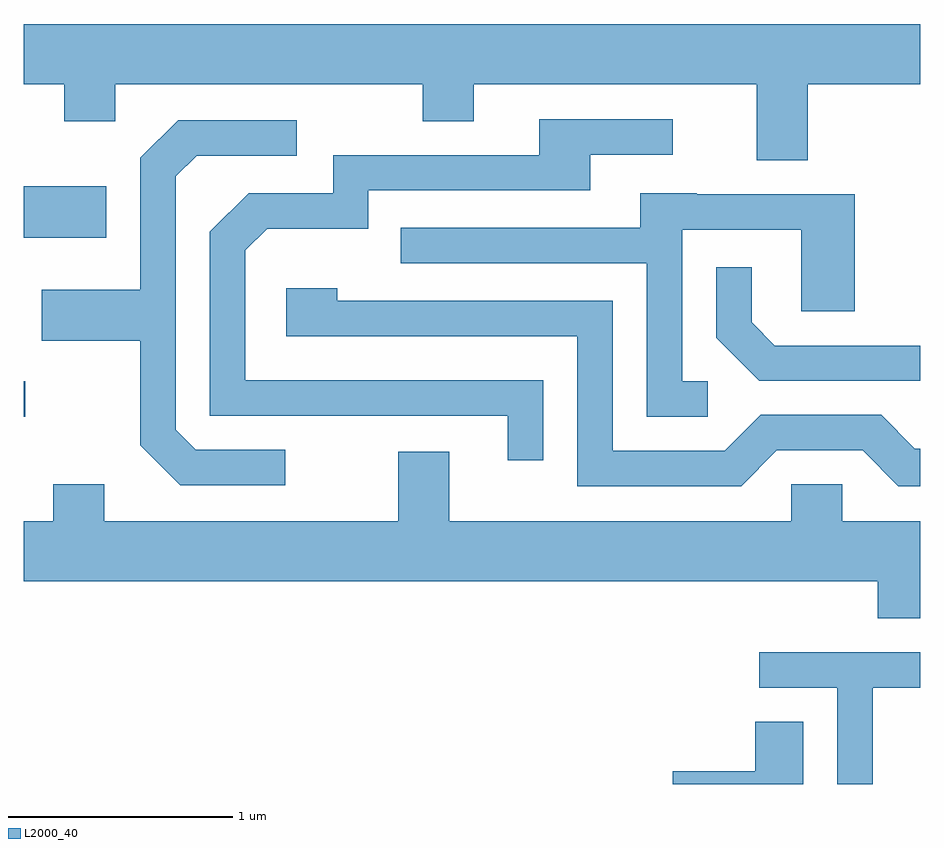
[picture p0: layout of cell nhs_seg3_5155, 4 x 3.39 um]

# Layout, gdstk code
import gdstk
lib = gdstk.Library(unit=1e-6, precision=1e-09)
def R(c, l, rs):  # rectangles x0, y0, x1, y1
    for r in rs: c.add(gdstk.rectangle(r[:2], r[2:], *l))
def P(c, l, *ps):  # polygons
    for p in ps: c.add(gdstk.Polygon(p, *l))
L2000_40 = (2000, 40)

nhs_seg3_5155 = lib.new_cell('nhs_seg3_5155')
R(nhs_seg3_5155, L2000_40, [(335.611,1235.531,335.618,1235.689), (335.611,1236.331,335.979,1236.559)])
P(nhs_seg3_5155, L2000_40, [(339.109,1237.016),(339.611,1237.016),(339.611,1237.284),(335.611,1237.284),(335.611,1237.016),(335.791,1237.016),(335.791,1236.851),(336.019,1236.851),(336.019,1237.016),(337.391,1237.016),(337.391,1236.851),(337.619,1236.851),(337.619,1237.016),(338.881,1237.016),(338.881,1236.676),(339.109,1236.676)],
  [(337.929,1235.694),(336.599,1235.694),(336.599,1236.274),(336.697,1236.371),(337.149,1236.371),(337.149,1236.541),(338.139,1236.541),(338.139,1236.701),(338.508,1236.701),(338.508,1236.859),(337.911,1236.859),(337.911,1236.699),(336.991,1236.699),(336.991,1236.529),(336.614,1236.529),(336.441,1236.357),(336.441,1235.536),(337.771,1235.536),(337.771,1235.338),(337.929,1235.338)],
  [(336.778,1235.384),(336.377,1235.384),(336.289,1235.472),(336.289,1236.604),(336.382,1236.696),(336.828,1236.696),(336.828,1236.854),(336.299,1236.854),(336.131,1236.687),(336.131,1236.099),(335.691,1236.099),(335.691,1235.871),(336.131,1235.871),(336.131,1235.404),(336.309,1235.226),(336.778,1235.226)],
  [(338.663,1235.689),(338.549,1235.689),(338.549,1236.366),(339.081,1236.366),(339.081,1236.001),(339.319,1236.001),(339.319,1236.524),(338.615,1236.524),(338.615,1236.529),(338.361,1236.529),(338.361,1236.374),(337.293,1236.374),(337.293,1236.216),(338.391,1236.216),(338.391,1235.531),(338.663,1235.531)],
  [(339.611,1235.849),(338.962,1235.849),(338.859,1235.952),(338.859,1236.198),(338.701,1236.198),(338.701,1235.884),(338.894,1235.691),(339.611,1235.691)],
  [(338.972,1235.381),(339.354,1235.381),(339.514,1235.221),(339.611,1235.221),(339.611,1235.389),(339.587,1235.389),(339.437,1235.539),(338.899,1235.539),(338.739,1235.379),(338.239,1235.379),(338.239,1236.049),(337.009,1236.049),(337.009,1236.104),(336.781,1236.104),(336.781,1235.891),(338.081,1235.891),(338.081,1235.221),(338.812,1235.221)],
  [(339.611,1235.064),(339.264,1235.064),(339.264,1235.229),(339.036,1235.229),(339.036,1235.064),(337.509,1235.064),(337.509,1235.374),(337.281,1235.374),(337.281,1235.064),(335.969,1235.064),(335.969,1235.229),(335.741,1235.229),(335.741,1235.064),(335.611,1235.064),(335.611,1234.796),(339.421,1234.796),(339.421,1234.631),(339.611,1234.631)],
  [(339.399,1234.321),(339.611,1234.321),(339.611,1234.479),(338.893,1234.479),(338.893,1234.321),(339.241,1234.321),(339.241,1233.892),(339.399,1233.892)],
  [(339.089,1234.169),(338.876,1234.169),(338.876,1233.949),(338.506,1233.949),(338.506,1233.892),(339.089,1233.892)])

lib.write_gds('nhs_seg3_5155.gds')
